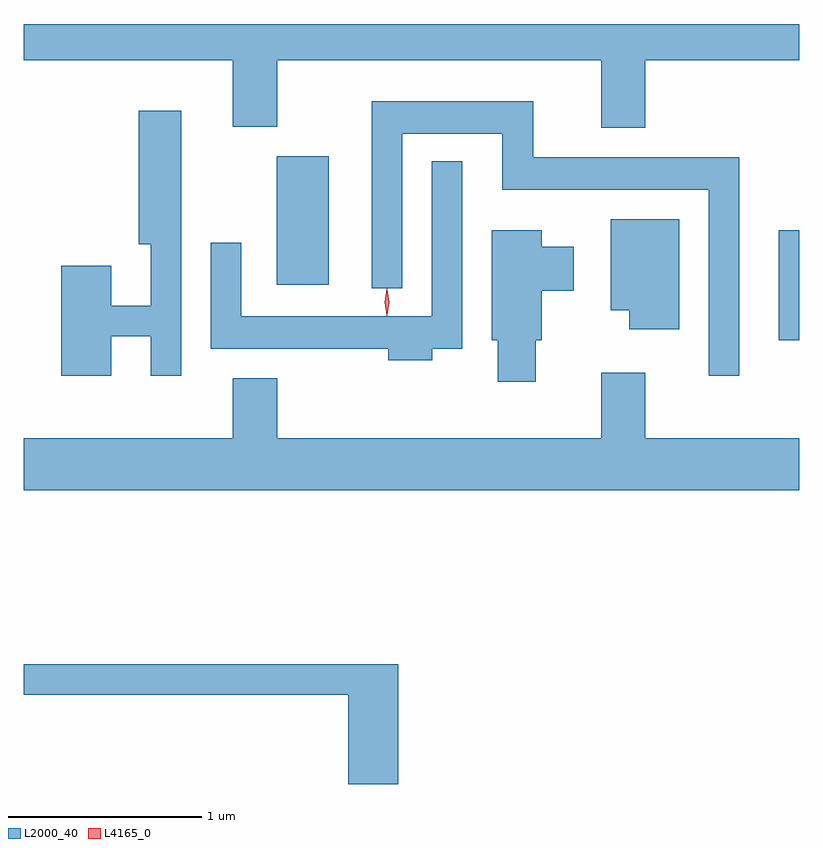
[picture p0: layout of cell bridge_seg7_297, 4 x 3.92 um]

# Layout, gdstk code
import gdstk
lib = gdstk.Library(unit=1e-6, precision=1e-09)
def R(c, l, rs):  # rectangles x0, y0, x1, y1
    for r in rs: c.add(gdstk.rectangle(r[:2], r[2:], *l))
def P(c, l, *ps):  # polygons
    for p in ps: c.add(gdstk.Polygon(p, *l))
L2000_40 = (2000, 40)
L4165_0 = (4165, 0)

bridge_seg7_297 = lib.new_cell('bridge_seg7_297')
R(bridge_seg7_297, L2000_40, [(1341.176,1792.791,1341.282,1793.359), (1338.586,1793.076,1338.854,1793.739)])
P(bridge_seg7_297, L2000_40, [(1340.489,1794.236),(1341.282,1794.236),(1341.282,1794.422),(1337.282,1794.422),(1337.282,1794.236),(1338.361,1794.236),(1338.361,1793.891),(1338.589,1793.891),(1338.589,1794.236),(1340.261,1794.236),(1340.261,1793.886),(1340.489,1793.886)],
  [(1340.974,1793.734),(1339.909,1793.734),(1339.909,1794.024),(1339.076,1794.024),(1339.076,1793.058),(1339.234,1793.058),(1339.234,1793.856),(1339.751,1793.856),(1339.751,1793.566),(1340.816,1793.566),(1340.816,1792.608),(1340.974,1792.608)],
  [(1337.734,1792.811),(1337.936,1792.811),(1337.936,1792.608),(1338.094,1792.608),(1338.094,1793.974),(1337.876,1793.974),(1337.876,1793.286),(1337.936,1793.286),(1337.936,1792.969),(1337.734,1792.969),(1337.734,1793.174),(1337.476,1793.174),(1337.476,1792.606),(1337.734,1792.606)],
  [(1339.389,1792.746),(1339.544,1792.746),(1339.544,1793.713),(1339.386,1793.713),(1339.386,1792.914),(1338.404,1792.914),(1338.404,1793.293),(1338.246,1793.293),(1338.246,1792.746),(1339.161,1792.746),(1339.161,1792.686),(1339.389,1792.686)],
  [(1340.664,1793.414),(1340.311,1793.414),(1340.311,1792.946),(1340.406,1792.946),(1340.406,1792.846),(1340.664,1792.846)],
  [(1339.924,1792.791),(1339.954,1792.791),(1339.954,1793.046),(1340.119,1793.046),(1340.119,1793.274),(1339.954,1793.274),(1339.954,1793.359),(1339.696,1793.359),(1339.696,1792.791),(1339.726,1792.791),(1339.726,1792.576),(1339.924,1792.576)],
  [(1341.282,1792.284),(1340.489,1792.284),(1340.489,1792.624),(1340.261,1792.624),(1340.261,1792.284),(1338.589,1792.284),(1338.589,1792.594),(1338.361,1792.594),(1338.361,1792.284),(1337.282,1792.284),(1337.282,1792.016),(1341.282,1792.016)],
  [(1339.214,1791.119),(1337.282,1791.119),(1337.282,1790.961),(1338.956,1790.961),(1338.956,1790.501),(1339.214,1790.501)])
P(bridge_seg7_297, L4165_0, [(1339.154,1792.917),(1339.145,1792.986),(1339.154,1793.056),(1339.155,1793.056),(1339.156,1793.056),(1339.165,1792.986),(1339.156,1792.917),(1339.155,1792.917)],
  [(1339.157,1792.919),(1339.156,1792.92),(1339.147,1792.986),(1339.156,1793.052),(1339.156,1793.053),(1339.157,1793.052),(1339.167,1792.986),(1339.157,1792.92)])

lib.write_gds('bridge_seg7_297.gds')
